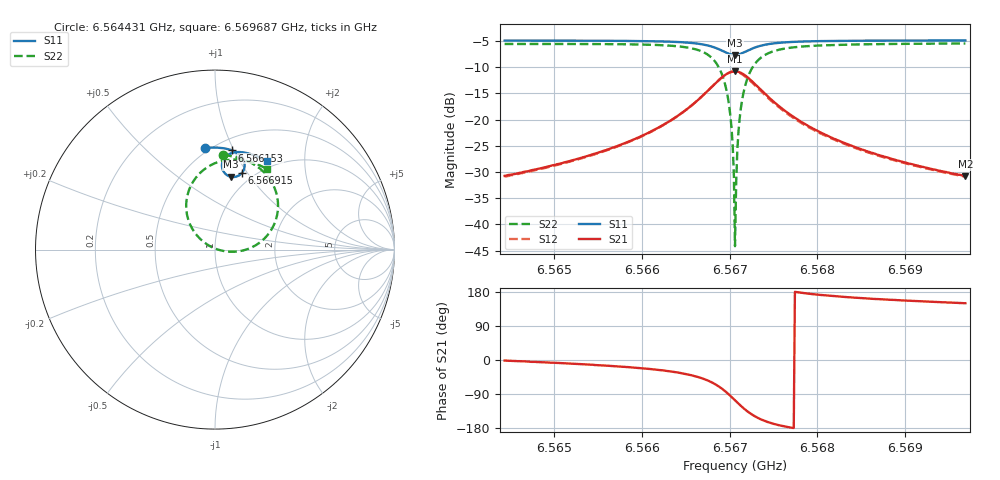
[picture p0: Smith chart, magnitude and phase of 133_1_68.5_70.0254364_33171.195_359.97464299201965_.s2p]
#  HZ  S  RI  R  50.00
! Rohde & Schwarz Vector Network Analyzer
! Rohde-Schwarz,ZNB20-2Port,1311601062101988,3.16
! Created: UTC 3/20/2024, 4:54:33 PM
! freq[Hz]  re:S11  im:S11  re:S21  im:S21  re:S12  im:S12  re:S22  im:S22
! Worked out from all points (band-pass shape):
!   401 points, 6.564431 GHz to 6.569687 GHz, reference 50 ohm
!   highest |S21| = -10.76 dB at 6.567059 GHz (marker M1); lowest = -30.8 dB at 6.569687 GHz (marker M2)
!   |S21| within 3 dB of the highest: 6.566794 GHz to 6.567321 GHz (527.4 kHz wide, 0.00803 % of centre)
!   lowest |S11| = -7.6 dB at 6.567059 GHz (marker M3), VSWR 2.42, Z = 41.4 + j40.7 ohm
!   |S11| at or under -10 dB: nowhere
!   |S22| runs from -44.2 to -5.4 dB; largest |S21 - S12| = 0.014
!   S11 on the Smith chart (normalised r, x): 6.564431 GHz: 0.47, +0.79; 6.566153 GHz: 0.61, +0.98; 6.566915 GHz: 0.88, +0.95; 6.569687 GHz: 0.90, +1.32
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6.5644312e9  -0.0563 0.5664  0.029 -0.000804  0.0285 -0.00127  0.0453 0.5264
6.5653116e9  0.0162 0.5678  0.0425 -0.0083  0.0419 -0.009  0.1304 0.5118
6.5661525e9  0.0961 0.5524  0.0734 -0.0347  0.0723 -0.0356  0.2444 0.4561
6.566192e9  0.1003 0.5507  0.0757 -0.0375  0.0746 -0.0383  0.2517 0.4506
6.5667044e9  0.1604 0.4954  0.1114 -0.133  0.1087 -0.1357  0.3506 0.2645
6.5668227e9  0.1649 0.4618  0.1 -0.1919  0.0949 -0.1958  0.3341 0.1519
6.5669147e9  0.1516 0.4293  0.0599 -0.2477  0.051 -0.2507  0.2604 0.048
6.5669935e9  0.1215 0.4075  -0.00898 -0.2814  -0.0211 -0.2806  0.1337 -0.00949
6.5670198e9  0.1081 0.4047  -0.0374 -0.2845  -0.0502 -0.2814  0.082 -0.012
6.5670329e9  0.1012 0.4043  -0.0522 -0.2837  -0.0649 -0.2798  0.0559 -0.0093
6.5670461e9  0.094 0.4047  -0.0668 -0.2816  -0.0795 -0.2764  0.0299 -0.00392
6.5670592e9  0.087 0.406  -0.0814 -0.278  -0.0937 -0.2717  0.00459 0.00415
6.5670855e9  0.0738 0.4108  -0.1088 -0.2668  -0.12 -0.2583  -0.0424 0.0277
6.5670986e9  0.0678 0.4143  -0.1215 -0.2593  -0.1319 -0.25  -0.0635 0.0427
6.5671118e9  0.0622 0.4183  -0.133 -0.2508  -0.1426 -0.2407  -0.0825 0.0596
6.5671381e9  0.0528 0.4277  -0.1531 -0.2311  -0.1608 -0.2198  -0.1144 0.0966
6.5671906e9  0.0412 0.4497  -0.1788 -0.1872  -0.1826 -0.1751  -0.152 0.1773
6.5672563e9  0.0391 0.4766  -0.1883 -0.1347  -0.1884 -0.124  -0.1591 0.27
6.567506e9  0.0773 0.5307  -0.1442 -0.0283  -0.141 -0.0239  -0.0572 0.4489
6.5679396e9  0.1401 0.5433  -0.0826 0.0089  -0.0806 0.0101  0.0813 0.5011
6.56882e9  0.2234 0.5237  -0.04 0.0154  -0.0392 0.0155  0.212 0.484
6.5696873e9  0.2883 0.4931  -0.0249 0.0144  -0.0244 0.0147  0.2898 0.449
